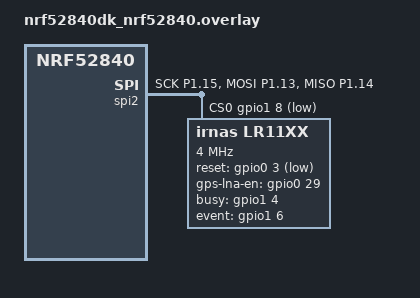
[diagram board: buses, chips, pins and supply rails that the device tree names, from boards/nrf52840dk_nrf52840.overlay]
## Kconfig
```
menu "Application"

config LORAWAN_DEV_EUI
    string "Device EUI"

config LORAWAN_JOIN_EUI
    string "Join EUI"
    default "0000000000000000"

config LORAWAN_APP_KEY
    string "Application key"

endmenu

menu "Zephyr"
source "Kconfig.zephyr"
endmenu

module = APP
module-str = APP
source "subsys/logging/Kconfig.template.log_config"
```

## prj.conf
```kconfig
# required for floorf (which is used within the smtc_modem lib)
CONFIG_NEWLIB_LIBC=y

# stack size (2048 required by Semtech)
CONFIG_MAIN_STACK_SIZE=4096
# some opereations will be triggered from the system workq, so match above stack size
CONFIG_SYSTEM_WORKQUEUE_STACK_SIZE=4096
# heap size
CONFIG_HEAP_MEM_POOL_SIZE=4096

CONFIG_LOG_BUFFER_SIZE=4096

CONFIG_PINCTRL=y

CONFIG_GPIO=y
CONFIG_SERIAL=y
CONFIG_CONSOLE=y
CONFIG_UART_CONSOLE=y
CONFIG_LOG=y
CONFIG_LOG_BACKEND_UART=y

CONFIG_SPI=y
CONFIG_LR11XX_LIB=y
CONFIG_LR11XX_LOG_LEVEL_DBG=y
CONFIG_LR11XX_EVENT_TRIGGER_OWN_THREAD=y

CONFIG_LORA_BASICS_MODEM=y
CONFIG_LORA_BASICS_MODEM_GEOLOCATION=y
CONFIG_LORA_BASICS_MODEM_TIME_SYNC=y
CONFIG_LORA_BASICS_MODEM_CRYPTOGRAPHY_SOFT=y
CONFIG_LORA_BASICS_MODEM_LOG_LEVEL_DBG=y

#requirements for CONFIG_LORA_BASICS_MODEM
CONFIG_REBOOT=y

CONFIG_SETTINGS=y
CONFIG_SETTINGS_NVS=y

CONFIG_NVS=y
CONFIG_FLASH=y
CONFIG_FLASH_MAP=y
CONFIG_FLASH_PAGE_LAYOUT=y
CONFIG_MPU_ALLOW_FLASH_WRITE=y

# some other source of randomness should be used in production
CONFIG_TEST_RANDOM_GENERATOR=y

# debug
CONFIG_ASSERT=y
CONFIG_DEBUG=y
```

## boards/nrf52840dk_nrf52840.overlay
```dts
#include <lr11xx_bindings_def.h>
&spi1 {
    status = "disabled";
};

&spi2 {
    compatible = "nordic,nrf-spi";
    status = "okay";
    pinctrl-0 = <&spi2_default>;
    pinctrl-1 = <&spi2_sleep>;
    pinctrl-names = "default", "sleep";

    cs-gpios = <&gpio1 8 GPIO_ACTIVE_LOW>;
    lr11xx: lr11xx@0 {
        compatible = "irnas,lr11xx";
        reg = <0>;
        spi-max-frequency = <4000000>;

        reset-gpios = <&gpio0 3 GPIO_ACTIVE_LOW>;
        gps-lna-en-gpios = <&gpio0 29 0>;
        busy-gpios = <&gpio1 4 GPIO_ACTIVE_HIGH>;
        event-gpios = <&gpio1 6 (GPIO_ACTIVE_HIGH | GPIO_PULL_DOWN) >;

		lf-tx-path = <LR11XX_TX_PATH_LF_LP_HP>;

        tcxo-supply = <LR11XX_TCXO_SUPPLY_1_8V>;
        tcxo-wakeup-time = <5>;

        lf-clk = <LR11XX_LFCLK_XTAL>;
        reg-mode = <LR11XX_REG_MODE_DCDC>;

        rf-sw-enable = <(LR11XX_DIO5 | LR11XX_DIO6 | LR11XX_DIO7)>;
        rf-sw-rx-mode = <LR11XX_DIO5>;
        rf-sw-tx-mode = <(LR11XX_DIO5 | LR11XX_DIO6)>;
        rf-sw-tx-hp-mode = <LR11XX_DIO6>;
        rf-sw-gnss-mode = <LR11XX_DIO7>;
    };
};

&pinctrl {
	spi2_default: spi2_default {
		group1 {
			psels = <NRF_PSEL(SPIM_SCK, 1, 15)>,
			        <NRF_PSEL(SPIM_MOSI, 1, 13)>,
			        <NRF_PSEL(SPIM_MISO, 1, 14)>;
		};
	};

	spi2_sleep: spi2_sleep {
		group1 {
			psels = <NRF_PSEL(SPIM_SCK, 1, 15)>,
			        <NRF_PSEL(SPIM_MOSI, 1, 13)>,
			        <NRF_PSEL(SPIM_MISO, 1, 14)>;
			low-power-enable;
		};
	};
};


&slot1_partition {
    reg = <0x72000 0x66000>;
};

&storage_partition {
    reg = <0xf8000 0x8000>;
};

&slot0_partition {
    reg = <0xc000 0x66000>;
};

&flash0 {
    partitions {
        saf_partition: partition@d8000 {
            reg = <0xd8000 0x20000>;
            label = "store-and-forward";
        };
    };
};
```

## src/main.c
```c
/** @file main.c
 *
 * @brief Periodical uplink example
 */

#include <smtc_modem_api.h>
#include <smtc_modem_hal_init.h>
#include <smtc_modem_utilities.h>
#include <smtc_modem_geolocation_api.h>

/* include hal and ralf so that initialization can be done */
#include <ralf_lr11xx.h>
#include <smtc_modem_hal.h>

#include <zephyr/device.h>
#include <zephyr/kernel.h>

#include <stdio.h>

#include <zephyr/logging/log.h>

LOG_MODULE_REGISTER(main);


#define STACK_ID 0
#define PERIODICAL_UPLINK_DELAY_S 60
#define DELAY_FIRST_MSG_AFTER_JOIN 60

static uint8_t rx_payload[SMTC_MODEM_MAX_LORAWAN_PAYLOAD_LENGTH] = { 0 };
static uint8_t rx_payload_size = 0;
static smtc_modem_dl_metadata_t rx_metadata = { 0 };
static uint8_t rx_remaining = 0;

static void modem_event_callback(void);
static int get_battery_level_callback(uint32_t *value);
static int get_temperature_callback(int32_t *value);
static int get_voltage_callback(uint32_t *value);
static void user_lbm_irq_callback(void);

/**
 * @brief Duration between uplinks
 */
#define APP_TX_DUTYCYCLE 60

/**
 * @brief Port to send uplinks on
 */
#define KEEP_ALIVE_PORT (2)
#define KEEP_ALIVE_PERIOD_S (3600 / 2)
#define KEEP_ALIVE_SIZE (4)
uint8_t keep_alive_payload[KEEP_ALIVE_SIZE] = { 0 };

#define GEOLOCATION_GNSS_SCAN_PERIOD_S (2 * 60)
#define GEOLOCATION_WIFI_SCAN_PERIOD_S (3 * 60)

/* ---------------- LoRaWAN Configurations ---------------- */

/* Stack id value (multistack modem is not yet available, so use 0) */
#define STACK_ID 0

K_SEM_DEFINE(main_sleep_sem, 0, 1);

static uint8_t dev_eui[8] = { 0 };
static uint8_t join_eui[8] = { 0 };
static uint8_t app_key[16] = { 0 };

static struct smtc_modem_hal_cb hal_callbacks = {
	.get_battery_level = get_battery_level_callback,
	.get_temperature = get_temperature_callback,
	.get_voltage = get_voltage_callback,
	.user_lbm_irq = user_lbm_irq_callback,
};

static int get_battery_level_callback(uint32_t *value)
{
	*value = 0;
	return 0;
}

static int get_temperature_callback(int32_t *value)
{
	*value = 0;
	return 0;
}

static int get_voltage_callback(uint32_t *value)
{
	*value = 0;
	return 0;
}

static void user_lbm_irq_callback(void)
{
	// LOG_WRN("%s", __func__);
	k_sem_give(&main_sleep_sem);
}

static void modem_event_callback(void)
{
	smtc_modem_return_code_t rc;
	smtc_modem_event_t current_event;
	uint8_t event_pending_count;
	uint8_t stack_id = STACK_ID;
	smtc_modem_gnss_event_data_scan_done_t gnss_scan_done_data;
	smtc_modem_gnss_event_data_terminated_t gnss_terminated_data;
	smtc_modem_wifi_event_data_scan_done_t wifi_scan_done_data;
	smtc_modem_wifi_event_data_terminated_t wifi_terminated_data;
	smtc_modem_almanac_demodulation_event_data_almanac_update_t almanac_demodulation_data;
	uint32_t gps_time_s;
	uint32_t gps_fractional_s;

	do {
		rc = smtc_modem_get_event(&current_event, &event_pending_count);
		if (rc != SMTC_MODEM_RC_OK) {
			LOG_ERR("Failed to get modem event, err: %d", rc);
			return;
		}

		switch (current_event.event_type) {
			case SMTC_MODEM_EVENT_RESET:
				LOG_INF("Event received: RESET");

				rc = smtc_modem_set_deveui(stack_id, dev_eui);
				if (rc != SMTC_MODEM_RC_OK) {
					LOG_ERR("Failed to set deveui, err: %d", rc);
					break;
				}

				rc = smtc_modem_set_joineui(stack_id, join_eui);
				if (rc != SMTC_MODEM_RC_OK) {
					LOG_ERR("Failed to set joineui, err: %d", rc);
					break;
				}

				rc = smtc_modem_set_nwkkey(stack_id, app_key);
				if (rc != SMTC_MODEM_RC_OK) {
					LOG_ERR("Failed to set nwkkey, err: %d", rc);
					break;
				}

				rc = smtc_modem_set_region(stack_id, SMTC_MODEM_REGION_EU_868);
				if (rc != SMTC_MODEM_RC_OK) {
					LOG_ERR("Failed to set region, err: %d", rc);
					break;
				}

				rc = smtc_modem_join_network(stack_id);
				if (rc != SMTC_MODEM_RC_OK) {
					LOG_ERR("Failed to start join, err: %d", rc);
					break;
				}

				rc = smtc_modem_almanac_demodulation_set_constellations(stack_id, SMTC_MODEM_GNSS_CONSTELLATION_GPS_BEIDOU);
				if (rc != SMTC_MODEM_RC_OK) {
					LOG_ERR("Failed to set almanac demodulation constellations, err: %d", rc);
					break;
				}

				// rc = smtc_modem_almanac_demodulation_start(stack_id);
				// if (rc != SMTC_MODEM_RC_OK) {
				// 	LOG_ERR("Failed to start almanac demodulation, err: %d", rc);
				// 	break;
				// }

     			rc = smtc_modem_store_and_forward_flash_clear_data( stack_id );
				if (rc != SMTC_MODEM_RC_OK) {
					LOG_ERR("Failed to clear flash data, err: %d", rc);
					break;
				}
            
				rc = smtc_modem_store_and_forward_set_state( stack_id, SMTC_MODEM_STORE_AND_FORWARD_ENABLE );
				if (rc != SMTC_MODEM_RC_OK) {
					LOG_ERR("Failed to enable store and forward, err: %d", rc);
					break;
				}
       
				rc = smtc_modem_gnss_send_mode(stack_id, SMTC_MODEM_SEND_MODE_STORE_AND_FORWARD);
				if (rc != SMTC_MODEM_RC_OK) {
					LOG_ERR("Failed to set gnss send mode, err: %d", rc);
					break;
				}

				rc = smtc_modem_wifi_send_mode(stack_id, SMTC_MODEM_SEND_MODE_STORE_AND_FORWARD);
				if (rc != SMTC_MODEM_RC_OK) {
					LOG_ERR("Failed to set wifi send mode, err: %d", rc);
					break;
				}

				rc = smtc_modem_gnss_set_constellations(stack_id, SMTC_MODEM_GNSS_CONSTELLATION_GPS_BEIDOU);
				if (rc != SMTC_MODEM_RC_OK) {
					LOG_ERR("Failed to set gnss scan constellations, err: %d", rc);
					break;
				}

				// rc = smtc_modem_alarm_start_timer(60);
				// if (rc != SMTC_MODEM_RC_OK) {
				// 	LOG_ERR("Failed to start timer, err: %d", rc);
				// 	break;
				// }

				// rc = smtc_modem_gnss_scan(stack_id, SMTC_MODEM_GNSS_MODE_STATIC, 0);
				// if (rc != SMTC_MODEM_RC_OK) {
				// 	LOG_ERR("Failed to start gnss scan, err: %d", rc);
				// 	break;
				// }

				// rc = smtc_modem_wifi_scan(stack_id, 0);
				// if (rc != SMTC_MODEM_RC_OK) {
				// 	LOG_ERR("Failed to start wifi scan, err: %d", rc);
				// 	break;
				// }

				break;

			case SMTC_MODEM_EVENT_ALARM:
				LOG_INF("Event received: ALARM");

				rc = smtc_modem_request_uplink(stack_id, KEEP_ALIVE_PORT, false, keep_alive_payload, KEEP_ALIVE_SIZE);
				if (rc != SMTC_MODEM_RC_OK) {
					LOG_ERR("Failed to request uplink, err: %d", rc);
					break;
				}

				rc = smtc_modem_alarm_start_timer(60);
				if (rc != SMTC_MODEM_RC_OK) {
					LOG_ERR("Failed to start timer, err: %d", rc);
					break;
				}

				break;

			case SMTC_MODEM_EVENT_JOINED:
				LOG_INF("Event received: JOINED");

				// send_uplink_counter_on_port(101);

				// rc = smtc_modem_set_nb_trans(stack_id, custom_nb_trans);
				// if (rc != SMTC_MODEM_RC_OK) {
				// 	LOG_ERR("Failed to set number of transmission, err: %d", rc);
				// 	break;
				// }

				// rc = smtc_modem_alarm_start_timer(KEEP_ALIVE_PERIOD_S);
				// if (rc != SMTC_MODEM_RC_OK) {
				// 	LOG_ERR("Failed to start timer, err: %d", rc);
				// 	break;
				// }

				rc = smtc_modem_start_alcsync_service(stack_id);
				if (rc != SMTC_MODEM_RC_OK) {
					LOG_ERR("Failed to start alcsync service, err: %d", rc);
					break;
				}

				rc = smtc_modem_trigger_alcsync_request(stack_id);
				if (rc != SMTC_MODEM_RC_OK) {
					LOG_ERR("Failed to trigger alcsync request, err: %d", rc);
					break;
				}

				rc = smtc_modem_almanac_start(stack_id);
				if (rc != SMTC_MODEM_RC_OK) {
					LOG_ERR("Failed to start almanac update service, err: %d", rc);
					break;
				}

				rc = smtc_modem_trig_lorawan_mac_request(stack_id, SMTC_MODEM_LORAWAN_MAC_REQ_DEVICE_TIME);
				if (rc != SMTC_MODEM_RC_OK) {
					LOG_ERR("Failed to request device time, err: %d", rc);
					break;
				}

				break;

			case SMTC_MODEM_EVENT_TXDONE:
				LOG_INF("Event received: TXDONE");

				break;

			case SMTC_MODEM_EVENT_DOWNDATA:
				LOG_INF("Event received: DOWNDATA");

				rc = smtc_modem_get_downlink_data(rx_payload,
						&rx_payload_size, &rx_metadata, &rx_remaining);
				if (rc != SMTC_MODEM_RC_OK) {
					LOG_ERR("Faild to get downlink data, err: %d", rc);
					break;
				}

				LOG_INF("Data received on port %u", rx_metadata.fport);
				LOG_HEXDUMP_INF(rx_payload, rx_payload_size, "Received payload:");

				break;

			case SMTC_MODEM_EVENT_JOINFAIL:
				LOG_INF("Event received: JOINFAIL");
				break;

			case SMTC_MODEM_EVENT_GNSS_ALMANAC_DEMOD_UPDATE:
				LOG_INF("Event received: GNSS_ALMANAC_DEMOD_UPDATE");

				rc = smtc_modem_almanac_demodulation_get_event_data_almanac_update(stack_id, &almanac_demodulation_data);
				if (rc != SMTC_MODEM_RC_OK) {
					LOG_ERR("Failed to get almanac demodulation data, err: %d", rc);
					break;
				}

				LOG_INF("progress: GPS %u%%, beidou %u%%", almanac_demodulation_data.update_progress_gps, almanac_demodulation_data.update_progress_beidou);

				/* Store progress in keep alive payload. */
				keep_alive_payload[0] = almanac_demodulation_data.update_progress_gps;
				keep_alive_payload[1] = almanac_demodulation_data.update_progress_beidou;
 
				break;

			case SMTC_MODEM_EVENT_GNSS_SCAN_DONE:
				LOG_INF("Event received: GNSS_SCAN_DONE");

				rc = smtc_modem_gnss_get_event_data_scan_done(stack_id, &gnss_scan_done_data);
				if (rc != SMTC_MODEM_RC_OK) {
					LOG_ERR("Failed to get gnss scan done data, err: %d", rc);
					break;
				}

				for (int i = 0; i < gnss_scan_done_data.nb_scans_valid; i++) {
					LOG_INF("Scan group: %u, %u SVs detected", i, gnss_scan_done_data.scans[i].nb_svs);
					for (int j = 0; j < gnss_scan_done_data.scans[i].nb_svs; j++) {
						/* Correct SV id. */
						uint8_t sv_id = gnss_scan_done_data.scans[i].info_svs[j].satellite_id;
						char sv_id_str[5] = { 0 };
						if (sv_id < 64) {
							/* GPS */
							snprintf(sv_id_str, sizeof(sv_id_str), "G%02u", sv_id + 1);
						} else {
							/* Beidou */
							snprintf(sv_id_str, sizeof(sv_id_str), "C%02u", sv_id - 63);
						}

						LOG_INF("SV id: %s snr: %d", sv_id_str, gnss_scan_done_data.scans[i].info_svs[j].cnr);
					}
				}

				if (gnss_scan_done_data.indoor_detected) {
					rc = smtc_modem_wifi_scan(stack_id, 0);
					if (rc != SMTC_MODEM_RC_OK) {
						LOG_ERR("Failed to start wifi scan, err: %d", rc);
						break;
					}
				}

				break;

			case SMTC_MODEM_EVENT_GNSS_TERMINATED:
				LOG_INF("Event received: GNSS_TERMINATED");

				rc = smtc_modem_gnss_get_event_data_terminated(stack_id, &gnss_terminated_data);
				if (rc != SMTC_MODEM_RC_OK) {
					LOG_ERR("Failed to get gnss terminated data, err: %d", rc);
					break;
				}

				rc = smtc_modem_gnss_scan(stack_id, SMTC_MODEM_GNSS_MODE_STATIC, GEOLOCATION_GNSS_SCAN_PERIOD_S);
				if (rc != SMTC_MODEM_RC_OK) {
					LOG_ERR("Failed to start gnss scan, err: %d", rc);
					break;
				}

				break;

			case SMTC_MODEM_EVENT_WIFI_SCAN_DONE:
				LOG_INF("Event received: WIFI_SCAN_DONE");
				
				rc = smtc_modem_wifi_get_event_data_scan_done(stack_id, &wifi_scan_done_data);
				if (rc != SMTC_MODEM_RC_OK) {
					LOG_ERR("Failed to get wifi scan done data, err: %d", rc);
					break;
				}

				LOG_INF("Got %u networks", wifi_scan_done_data.nbr_results);

				break;

			case SMTC_MODEM_EVENT_WIFI_TERMINATED:
				LOG_INF("Event received: WIFI_TERMINATED");
				
				rc = smtc_modem_wifi_get_event_data_terminated(stack_id, &wifi_terminated_data);
				if (rc != SMTC_MODEM_RC_OK) {
					LOG_ERR("Failed to get wifi terminated data, err: %d", rc);
					break;
				}

				rc = smtc_modem_wifi_scan(stack_id, GEOLOCATION_WIFI_SCAN_PERIOD_S);
				if (rc != SMTC_MODEM_RC_OK) {
					LOG_ERR("Failed to start gnss scan, err: %d", rc);
					break;
				}

				break;

			case SMTC_MODEM_EVENT_ALCSYNC_TIME:
				LOG_INF("Event received: ALCSYNC_TIME");

				rc = smtc_modem_get_alcsync_time(stack_id, &gps_time_s);
				if (rc != SMTC_MODEM_RC_OK) {
					LOG_ERR("Failed to get alcsync time, err: %d", rc);
					break;
				}

				LOG_INF("Alcsync time: %u", gps_time_s);

				break;

			case SMTC_MODEM_EVENT_LORAWAN_MAC_TIME:
				LOG_INF("Event received: LORAWAN_MAC_TIME");

				rc = smtc_modem_get_lorawan_mac_time(stack_id, &gps_time_s, &gps_fractional_s);
				if (rc != SMTC_MODEM_RC_OK) {
					LOG_ERR("Failed to get lorawan mac time, err: %d", rc);
					break;
				}

				LOG_INF("Lorawan mac time: %u.%u", gps_time_s, gps_fractional_s);

				

				break;

			default:
				LOG_INF("Event received");
				break;
		}
	} while (event_pending_count > 0);
}


int main(void)
{
	hex2bin(CONFIG_LORAWAN_DEV_EUI, 16, dev_eui, sizeof(dev_eui));
	hex2bin(CONFIG_LORAWAN_JOIN_EUI, 16, join_eui, sizeof(join_eui));
	hex2bin(CONFIG_LORAWAN_APP_KEY, 32, app_key, sizeof(app_key));

	const struct device *dev = DEVICE_DT_GET(DT_NODELABEL(lr11xx));
	smtc_modem_hal_init(dev, &hal_callbacks);
	smtc_modem_set_radio_context(dev);

	smtc_modem_init(&modem_event_callback);

	/* Enter main loop:
	 * The fist call to smtc_modem_run_engine will trigger the reset callback.
	 */

	while (true) {
		/* Execute modem runtime, this function must be called again in sleep_time_ms
		 * milliseconds or sooner. */
		uint32_t sleep_time_ms = smtc_modem_run_engine();

		LOG_INF("Sleeping for %d ms", sleep_time_ms);
		k_sem_take(&main_sleep_sem, K_MSEC(sleep_time_ms));
	}

	return 0;
}
```
